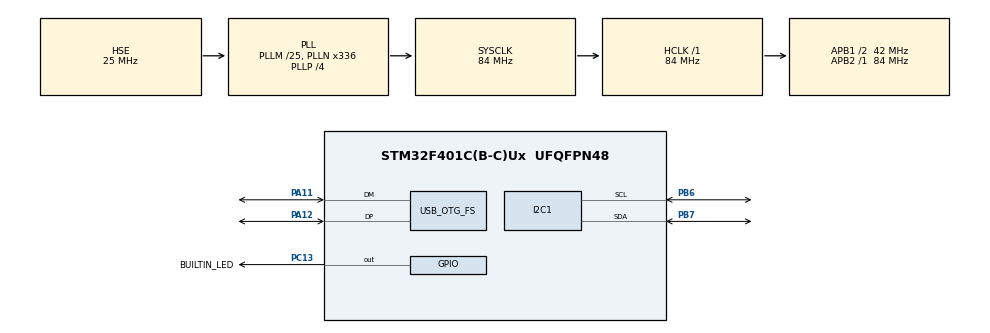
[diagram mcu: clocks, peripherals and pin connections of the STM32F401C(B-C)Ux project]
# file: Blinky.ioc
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Mcu.Family=STM32F4
Mcu.Name=STM32F401C(B-C)Ux
Mcu.Package=UFQFPN48
NVIC.OTG_FS_IRQn=true\:0\:0\:false\:false\:true\:false\:true
NVIC.PriorityGroup=NVIC_PRIORITYGROUP_4
PA11.Mode=Device_Only
PA11.Signal=USB_OTG_FS_DM
PA12.Mode=Device_Only
PA12.Signal=USB_OTG_FS_DP
PA13.Mode=Serial_Wire
PA13.Signal=SYS_JTMS-SWDIO
PA14.Mode=Serial_Wire
PA14.Signal=SYS_JTCK-SWCLK
PB6.Mode=I2C
PB6.Signal=I2C1_SCL
PB7.Mode=I2C
PB7.Signal=I2C1_SDA
PC13-ANTI_TAMP.GPIO_Label=BUILTIN_LED
PC13-ANTI_TAMP.GPIO_PuPd=GPIO_NOPULL
PC13-ANTI_TAMP.PinState=GPIO_PIN_RESET
PC13-ANTI_TAMP.Signal=GPIO_Output
PC14-OSC32_IN.Mode=LSE-External-Oscillator
PC14-OSC32_IN.Signal=RCC_OSC32_IN
PC15-OSC32_OUT.Mode=LSE-External-Oscillator
PC15-OSC32_OUT.Signal=RCC_OSC32_OUT
PH0\ -\ OSC_IN.Mode=HSE-External-Oscillator
PH0\ -\ OSC_IN.Signal=RCC_OSC_IN
PH1\ -\ OSC_OUT.Mode=HSE-External-Oscillator
PH1\ -\ OSC_OUT.Signal=RCC_OSC_OUT
ProjectManager.HeapSize=0x200
ProjectManager.StackSize=0x400
ProjectManager.TargetToolchain=STM32CubeIDE
RCC.48MHZClocksFreq_Value=48000000
RCC.AHBFreq_Value=84000000
RCC.APB1CLKDivider=RCC_HCLK_DIV2
RCC.APB1Freq_Value=42000000
RCC.APB1TimFreq_Value=84000000
RCC.APB2Freq_Value=84000000
RCC.APB2TimFreq_Value=84000000
RCC.CortexFreq_Value=84000000
RCC.HCLKFreq_Value=84000000
RCC.HSE_VALUE=25000000
RCC.HSI_VALUE=16000000
RCC.PLLM=25
RCC.PLLN=336
RCC.PLLP=RCC_PLLP_DIV4
RCC.PLLQ=7
RCC.SYSCLKFreq_VALUE=84000000
RCC.SYSCLKSource=RCC_SYSCLKSOURCE_PLLCLK
RCC.VCOOutputFreq_Value=336000000
USB_DEVICE.CLASS_NAME_FS=CDC
USB_DEVICE.VirtualMode=Cdc
USB_DEVICE.VirtualModeFS=Cdc_FS
USB_OTG_FS.VirtualMode=Device_Only
VP_CRC_VS_CRC.Mode=CRC_Activate
VP_USB_DEVICE_VS_USB_DEVICE_CDC_FS.Mode=CDC_FS
board=custom

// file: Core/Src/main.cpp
/* USER CODE BEGIN Header */
/**
  ******************************************************************************
  * @file           : main.c
  * @brief          : Main program body
  ******************************************************************************
  * @attention
  *
  * <h2><center>&copy; Copyright (c) 2020 STMicroelectronics.
  * All rights reserved.</center></h2>
  *
  * This software component is licensed by ST under Ultimate Liberty license
  * SLA0044, the "License"; You may not use this file except in compliance with
  * the License. You may obtain a copy of the License at:
  *                             www.st.com/SLA0044
  *
  ******************************************************************************
  */
/* USER CODE END Header */

#include "main.h"
#include "crc.h"
#include "i2c.h"
#include "usb_device.h"
#include "gpio.h"

/* USER CODE BEGIN Includes */
#include "usbd_cdc_if.h"
#include "MPU6050.hpp"
#include <stdio.h>
#include <string.h>
/* USER CODE END Includes */

void SystemClock_Config(void);

/* USER CODE BEGIN 0 */
struct Packet {
  uint16_t id;
  uint32_t time;
  MPU6050::SensorData data;
};

// force big endian into this
void WriteBytes(uint8_t *dest, uint8_t *src, int size) {
	for (int i = 0; i < size; i++) {
		dest[i] = src[(size-1)-i];
	}
}

void TransmitPacket(Packet &packet) {
	static uint8_t buffer[30] = {0};
	int i = 0;
	WriteBytes(&buffer[i], (uint8_t*)&packet.id, 2); 	i += 2;
	WriteBytes(&buffer[i], (uint8_t*)&packet.time, 4);	i += 4;

	WriteBytes(&buffer[i], (uint8_t*)&packet.data.accel.x, 4);	i += 4;
	WriteBytes(&buffer[i], (uint8_t*)&packet.data.accel.y, 4);	i += 4;
	WriteBytes(&buffer[i], (uint8_t*)&packet.data.accel.z, 4);	i += 4;

	WriteBytes(&buffer[i], (uint8_t*)&packet.data.gyro.x, 4);	i += 4;
	WriteBytes(&buffer[i], (uint8_t*)&packet.data.gyro.y, 4);	i += 4;
	WriteBytes(&buffer[i], (uint8_t*)&packet.data.gyro.z, 4);

	CDC_Transmit_FS(buffer, sizeof(buffer));
}

/* USER CODE END 0 */

int main(void)
{

  /* MCU Configuration--------------------------------------------------------*/

  /* Reset of all peripherals, Initializes the Flash interface and the Systick. */
  HAL_Init();

  /* Configure the system clock */
  SystemClock_Config();

  /* Initialize all configured peripherals */
  MX_GPIO_Init();
  MX_CRC_Init();
  MX_USB_DEVICE_Init();
  MX_I2C1_Init();
  /* USER CODE BEGIN 2 */
  HAL_StatusTypeDef status = HAL_I2C_IsDeviceReady(&hi2c1, 0x68 << 1, 3, 10);
  if (status == HAL_OK) {
	  HAL_GPIO_WritePin(BUILTIN_LED_GPIO_Port, BUILTIN_LED_Pin, GPIO_PIN_RESET);
  } else {
	  HAL_GPIO_WritePin(BUILTIN_LED_GPIO_Port, BUILTIN_LED_Pin, GPIO_PIN_SET);
  }

  MPU6050 sensor(&hi2c1);
  sensor.SetAccelFullScaleRange(3);
  sensor.SetGyroFullScaleRange(3);
  /* USER CODE END 2 */

  /* Infinite loop */
  /* USER CODE BEGIN WHILE */

  Packet packet = {0};

  packet.id = 0xba41;
  packet.time = 0u;

  HAL_Delay(1000);

  while (1)
  {
	  if (sensor.IsReady()) {
		  packet.data = sensor.GetSensorData();
		  packet.time = HAL_GetTick();
		  TransmitPacket(packet);
	  } else {
		  HAL_Delay(1);
	  }

    /* USER CODE END WHILE */

  }
}

void SystemClock_Config(void)
{
  RCC_OscInitTypeDef RCC_OscInitStruct = {0};
  RCC_ClkInitTypeDef RCC_ClkInitStruct = {0};

  /** Configure the main internal regulator output voltage
  */
  __HAL_RCC_PWR_CLK_ENABLE();
  __HAL_PWR_VOLTAGESCALING_CONFIG(PWR_REGULATOR_VOLTAGE_SCALE2);
  /** Initializes the CPU, AHB and APB busses clocks
  */
  RCC_OscInitStruct.OscillatorType = RCC_OSCILLATORTYPE_HSE;
  RCC_OscInitStruct.HSEState = RCC_HSE_ON;
  RCC_OscInitStruct.PLL.PLLState = RCC_PLL_ON;
  RCC_OscInitStruct.PLL.PLLSource = RCC_PLLSOURCE_HSE;
  RCC_OscInitStruct.PLL.PLLM = 25;
  RCC_OscInitStruct.PLL.PLLN = 336;
  RCC_OscInitStruct.PLL.PLLP = RCC_PLLP_DIV4;
  RCC_OscInitStruct.PLL.PLLQ = 7;
  if (HAL_RCC_OscConfig(&RCC_OscInitStruct) != HAL_OK)
  {
    Error_Handler();
  }
  /** Initializes the CPU, AHB and APB busses clocks
  */
  RCC_ClkInitStruct.ClockType = RCC_CLOCKTYPE_HCLK|RCC_CLOCKTYPE_SYSCLK
                              |RCC_CLOCKTYPE_PCLK1|RCC_CLOCKTYPE_PCLK2;
  RCC_ClkInitStruct.SYSCLKSource = RCC_SYSCLKSOURCE_PLLCLK;
  RCC_ClkInitStruct.AHBCLKDivider = RCC_SYSCLK_DIV1;
  RCC_ClkInitStruct.APB1CLKDivider = RCC_HCLK_DIV2;
  RCC_ClkInitStruct.APB2CLKDivider = RCC_HCLK_DIV1;

  if (HAL_RCC_ClockConfig(&RCC_ClkInitStruct, FLASH_LATENCY_2) != HAL_OK)
  {
    Error_Handler();
  }
}

void Error_Handler(void)
{
}

/************************ (C) COPYRIGHT STMicroelectronics *****END OF FILE****/
